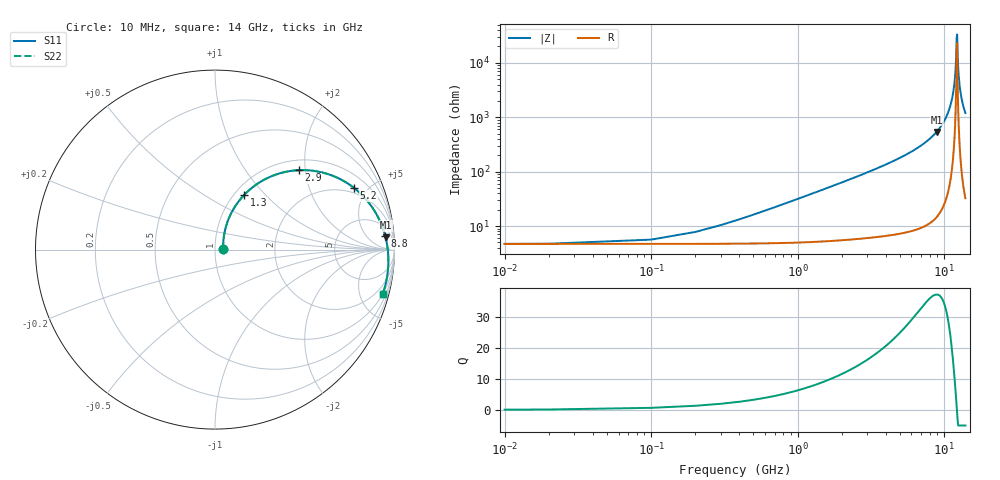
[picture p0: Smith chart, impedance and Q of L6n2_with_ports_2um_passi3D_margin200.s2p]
#  GHZ S DB R 50.0
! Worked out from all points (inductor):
!   142 points, 10 MHz to 14 GHz, reference 50 ohm
!   read as one part in series: L = 4.91 nH near 500 MHz
!   highest Q = 37 at 8.9 GHz (marker M1), where L = 9.61 nH
!   self-resonance near 12.2 GHz
!   S11 on the Smith chart (normalised r, x): 10 MHz: 1.09, +0.01; 1.3 GHz: 1.11, +0.77; 2.9 GHz: 1.22, +1.84; 5.2 GHz: 1.67, +4.06; 8.8 GHz: 11, +18; 14 GHz: 1.00, -7.56
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0.01  -26.97 3.3  -0.40 -0.2  -0.40 -0.2  -26.97 3.3
0.6  -15.41 65.8  -0.58 -10.7  -0.58 -10.7  -15.41 65.8
1.3  -9.19 61.9  -1.09 -22.1  -1.09 -22.1  -9.19 61.8
2.4  -4.92 49.0  -2.36 -37.5  -2.36 -37.5  -4.93 49.0
2.9  -3.84 43.6  -3.06 -43.4  -3.06 -43.4  -3.85 43.6
4.7  -1.75 27.6  -5.95 -60.4  -5.95 -60.4  -1.76 27.5
5.2  -1.44 24.0  -6.82 -64.1  -6.82 -64.1  -1.44 24.0
7.1  -0.73 12.6  -10.51 -75.8  -10.51 -75.8  -0.73 12.6
8.8  -0.43 4.6  -14.67 -83.9  -14.67 -83.9  -0.43 4.6
8.9  -0.42 4.1  -14.96 -84.4  -14.96 -84.4  -0.42 4.1
9.4  -0.37 2.0  -16.54 -86.4  -16.54 -86.4  -0.37 2.0
10.9  -0.28 -3.9  -23.45 -91.6  -23.45 -91.6  -0.28 -3.9
11.7  -0.26 -6.8  -31.38 -92.1  -31.38 -92.1  -0.26 -6.9
12  -0.26 -7.9  -38.09 -88.2  -38.09 -88.2  -0.26 -7.9
12.1  -0.26 -8.3  -42.23 -82.8  -42.23 -82.8  -0.26 -8.3
12.2  -0.26 -8.6  -49.50 -61.4  -49.50 -61.4  -0.26 -8.6
12.3  -0.26 -9.0  -50.75 37.4  -50.75 37.4  -0.26 -9.0
12.4  -0.26 -9.3  -42.95 64.6  -42.95 64.6  -0.26 -9.4
12.5  -0.26 -9.7  -38.62 70.7  -38.62 70.7  -0.26 -9.7
12.8  -0.26 -10.7  -31.82 75.0  -31.82 75.0  -0.26 -10.7
13.3  -0.27 -12.5  -26.27 75.4  -26.27 75.4  -0.27 -12.5
14  -0.29 -14.8  -21.95 73.8  -21.95 73.8  -0.30 -14.8
